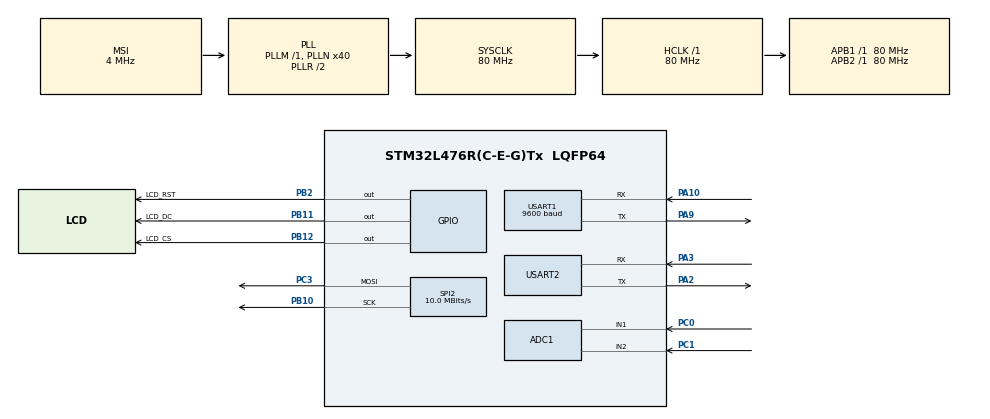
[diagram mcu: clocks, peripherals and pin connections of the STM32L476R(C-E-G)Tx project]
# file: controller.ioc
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ADC1.Channel-0\#ChannelRegularConversion=ADC_CHANNEL_1
ADC1.Channel-1\#ChannelRegularConversion=ADC_CHANNEL_2
ADC1.ContinuousConvMode=ENABLE
ADC1.DMAContinuousRequests=ENABLE
ADC1.NbrOfConversion=2
ADC1.NbrOfConversionFlag=1
ADC1.OffsetNumber-0\#ChannelRegularConversion=ADC_OFFSET_NONE
ADC1.OffsetNumber-1\#ChannelRegularConversion=ADC_OFFSET_NONE
ADC1.Overrun=ADC_OVR_DATA_OVERWRITTEN
ADC1.Rank-0\#ChannelRegularConversion=1
ADC1.Rank-1\#ChannelRegularConversion=2
ADC1.SamplingTime-0\#ChannelRegularConversion=ADC_SAMPLETIME_92CYCLES_5
ADC1.SamplingTime-1\#ChannelRegularConversion=ADC_SAMPLETIME_92CYCLES_5
ADC1.master=1
Dma.ADC1.0.Direction=DMA_PERIPH_TO_MEMORY
Dma.ADC1.0.Instance=DMA1_Channel1
Dma.ADC1.0.MemDataAlignment=DMA_MDATAALIGN_HALFWORD
Dma.ADC1.0.MemInc=DMA_MINC_ENABLE
Dma.ADC1.0.Mode=DMA_CIRCULAR
Dma.ADC1.0.PeriphDataAlignment=DMA_PDATAALIGN_HALFWORD
Dma.ADC1.0.PeriphInc=DMA_PINC_DISABLE
Dma.ADC1.0.Priority=DMA_PRIORITY_LOW
Dma.Request0=ADC1
Mcu.Family=STM32L4
Mcu.Name=STM32L476R(C-E-G)Tx
Mcu.Package=LQFP64
NVIC.DMA1_Channel1_IRQn=true\:0\:0\:false\:false\:true\:false\:true
NVIC.PriorityGroup=NVIC_PRIORITYGROUP_4
NVIC.USART1_IRQn=true\:0\:0\:false\:false\:true\:true\:true
PA10.Mode=Asynchronous
PA10.Signal=USART1_RX
PA2.Mode=Asynchronous
PA2.Signal=USART2_TX
PA3.Mode=Asynchronous
PA3.Signal=USART2_RX
PA9.Mode=Asynchronous
PA9.Signal=USART1_TX
PB10.Mode=TX_Only_Simplex_Unidirect_Master
PB10.Signal=SPI2_SCK
PB11.GPIO_Label=LCD_DC
PB11.Signal=GPIO_Output
PB12.GPIO_Label=LCD_CS
PB12.PinState=GPIO_PIN_SET
PB12.Signal=GPIO_Output
PB2.GPIO_Label=LCD_RST
PB2.Signal=GPIO_Output
PC0.Signal=ADCx_IN1
PC1.Signal=ADCx_IN2
PC3.Mode=TX_Only_Simplex_Unidirect_Master
PC3.Signal=SPI2_MOSI
ProjectManager.HeapSize=0x200
ProjectManager.StackSize=0x400
ProjectManager.TargetToolchain=STM32CubeIDE
RCC.ADCFreq_Value=32000000
RCC.AHBFreq_Value=80000000
RCC.APB1Freq_Value=80000000
RCC.APB1TimFreq_Value=80000000
RCC.APB2Freq_Value=80000000
RCC.APB2TimFreq_Value=80000000
RCC.CortexFreq_Value=80000000
RCC.HCLKFreq_Value=80000000
RCC.HSE_VALUE=8000000
RCC.HSI_VALUE=16000000
RCC.LSE_VALUE=32768
RCC.MSI_VALUE=4000000
RCC.PLLN=40
RCC.PLLSAI1N=16
RCC.SYSCLKFreq_VALUE=80000000
RCC.SYSCLKSource=RCC_SYSCLKSOURCE_PLLCLK
RCC.USBFreq_Value=32000000
RCC.VCOOutputFreq_Value=160000000
SH.ADCx_IN1.0=ADC1_IN1,IN1-Single-Ended
SH.ADCx_IN2.0=ADC1_IN2,IN2-Single-Ended
SPI2.BaudRatePrescaler=SPI_BAUDRATEPRESCALER_8
SPI2.CalculateBaudRate=10.0 MBits/s
SPI2.DataSize=SPI_DATASIZE_8BIT
SPI2.Direction=SPI_DIRECTION_2LINES
SPI2.Mode=SPI_MODE_MASTER
SPI2.NSSPMode=SPI_NSS_PULSE_DISABLE
SPI2.VirtualType=VM_MASTER
USART1.BaudRate=9600
USART1.VirtualMode-Asynchronous=VM_ASYNC
USART2.VirtualMode-Asynchronous=VM_ASYNC
board=custom

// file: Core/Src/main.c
/* USER CODE BEGIN Header */
/**
  ******************************************************************************
  * @file           : main.c
  * @brief          : Main program body
  ******************************************************************************
  * @attention
  *
  * Copyright (c) 2022 STMicroelectronics.
  * All rights reserved.
  *
  * This software is licensed under terms that can be found in the LICENSE file
  * in the root directory of this software component.
  * If no LICENSE file comes with this software, it is provided AS-IS.
  *
  ******************************************************************************
  */
/* USER CODE END Header */
#include "main.h"
#include "adc.h"
#include "dma.h"
#include "spi.h"
#include "usart.h"
#include "gpio.h"

/* USER CODE BEGIN Includes */
#include <stdio.h>
#include <stdlib.h>
#include <wchar.h>

#include "hagl.h"
#include "font6x9.h"
#include "rgb565.h"
/* USER CODE END Includes */

void SystemClock_Config(void);

/* USER CODE BEGIN 0 */
int __io_putchar(int ch)
{
  if (ch == '\n') {
    __io_putchar('\r');
  }

  HAL_UART_Transmit(&huart2, (uint8_t*)&ch, 1, HAL_MAX_DELAY);

  return 1;
}

uint16_t eps = 200;
uint16_t north=4000;
uint16_t south=0;
uint16_t east = 4000;
uint16_t west=0;

volatile int rx_uart_flag = 0;

#define RX_BUFFER_LEN 1
#define TX_BUFFER_LEN 1

char TX_BUFFER[TX_BUFFER_LEN]={0};
uint8_t RX_BUFFER[RX_BUFFER_LEN]={0};

uint8_t calculateDirection(uint32_t measurement_y, uint32_t measurement_x)
{
	if(abs(measurement_y-north) < eps)
		return '1';
	else if(abs(measurement_y-south) < eps)
		return '3';
	else if(abs(measurement_x-west) < eps)
		return '4';
	else if(abs(measurement_x-east) < eps)
		return '2';
	else return '0';
}

void HAL_UART_RxCpltCallback(UART_HandleTypeDef *huart)
{
    if(huart == &huart1)
    {
    	rx_uart_flag = 1;
    	HAL_UART_Receive_IT(&huart1, RX_BUFFER, 1);
    }
}
/* USER CODE END 0 */

int main(void)
{

  /* MCU Configuration--------------------------------------------------------*/

  /* Reset of all peripherals, Initializes the Flash interface and the Systick. */
  HAL_Init();

  /* Configure the system clock */
  SystemClock_Config();

  /* Initialize all configured peripherals */
  MX_GPIO_Init();
  MX_USART2_UART_Init();
  MX_DMA_Init();
  MX_ADC1_Init();
  MX_SPI2_Init();
  MX_USART1_UART_Init();
  /* USER CODE BEGIN 2 */
  /**
   * value array stands for measurements from joystick
   * value[0] - measurement from Y-axis
   * value[1] - measurement from X-axis
   */
  volatile static uint16_t value[2];
  uint8_t last_direction = '0';

  HAL_ADCEx_Calibration_Start(&hadc1, ADC_SINGLE_ENDED);
  HAL_ADC_Start_DMA(&hadc1, (uint32_t*)value, 2);
  HAL_UART_Receive_IT(&huart1, RX_BUFFER, 1);
//  wchar_t text_direction[15];
  lcd_init();
  wchar_t  ws[20];
  float temp[10] = {20.0, 20.1, 20.2, 20.0, 20.1, 20.0, 20.1, 20.1, 20.0, 20.2};
  int temp_index = 0;

  /* USER CODE END 2 */

  /* Infinite loop */
  /* USER CODE BEGIN WHILE */
  while (1)
  {
	  printf("Dir: %c\n", calculateDirection(value[0],value[1]));
	  swprintf(ws, 20, L"%hs%c", "Direction: ",calculateDirection(value[0],value[1]));
	  hagl_put_text(ws,0,0,YELLOW,font6x9);
	  lcd_copy();
	  TX_BUFFER[0]=(char)calculateDirection(value[0],value[1]);
	  if (last_direction != TX_BUFFER[0]) {
		  HAL_UART_Transmit(&huart1, (uint8_t*)TX_BUFFER, TX_BUFFER_LEN, 100);
	  }
	  last_direction = TX_BUFFER[0];
	  HAL_Delay(10);

//	  if (rx_uart_flag == 1) {
//		  rx_uart_flag = 0;
//		  if (RX_BUFFER[0] == 0) {
//			  printf("Gas: No\r\n");
//			  swprintf(ws, 20, L"%hs", "Gas: N");
//		  } else {
//			  printf("Gas: Yes\r\n");
//			  swprintf(ws, 20, L"%hs", "Gas: Y");
//		  }
//
//		  hagl_put_text(ws,0,10,YELLOW,font6x9);
//		  swprintf(ws, 20, L"%hs", "Temperature: 20");
//		  hagl_put_text(ws,0,20,YELLOW,font6x9);
//		  lcd_copy();
//	  }

	  swprintf(ws, 20, L"%hs", "Gas: N");
	  hagl_put_text(ws,0,10,YELLOW,font6x9);
	  swprintf(ws, 20, L"%hs%.2f", "Temperature: ", temp[temp_index++]);
	  hagl_put_text(ws,0,20,YELLOW,font6x9);
	  lcd_copy();
	  if (temp_index >= 10) {
		  temp_index = 0;
	  }
    /* USER CODE END WHILE */

  }
}

void SystemClock_Config(void)
{
  RCC_OscInitTypeDef RCC_OscInitStruct = {0};
  RCC_ClkInitTypeDef RCC_ClkInitStruct = {0};

  /** Configure the main internal regulator output voltage
  */
  if (HAL_PWREx_ControlVoltageScaling(PWR_REGULATOR_VOLTAGE_SCALE1) != HAL_OK)
  {
    Error_Handler();
  }
  /** Initializes the RCC Oscillators according to the specified parameters
  * in the RCC_OscInitTypeDef structure.
  */
  RCC_OscInitStruct.OscillatorType = RCC_OSCILLATORTYPE_MSI;
  RCC_OscInitStruct.MSIState = RCC_MSI_ON;
  RCC_OscInitStruct.MSICalibrationValue = 0;
  RCC_OscInitStruct.MSIClockRange = RCC_MSIRANGE_6;
  RCC_OscInitStruct.PLL.PLLState = RCC_PLL_ON;
  RCC_OscInitStruct.PLL.PLLSource = RCC_PLLSOURCE_MSI;
  RCC_OscInitStruct.PLL.PLLM = 1;
  RCC_OscInitStruct.PLL.PLLN = 40;
  RCC_OscInitStruct.PLL.PLLP = RCC_PLLP_DIV7;
  RCC_OscInitStruct.PLL.PLLQ = RCC_PLLQ_DIV2;
  RCC_OscInitStruct.PLL.PLLR = RCC_PLLR_DIV2;
  if (HAL_RCC_OscConfig(&RCC_OscInitStruct) != HAL_OK)
  {
    Error_Handler();
  }
  /** Initializes the CPU, AHB and APB buses clocks
  */
  RCC_ClkInitStruct.ClockType = RCC_CLOCKTYPE_HCLK|RCC_CLOCKTYPE_SYSCLK
                              |RCC_CLOCKTYPE_PCLK1|RCC_CLOCKTYPE_PCLK2;
  RCC_ClkInitStruct.SYSCLKSource = RCC_SYSCLKSOURCE_PLLCLK;
  RCC_ClkInitStruct.AHBCLKDivider = RCC_SYSCLK_DIV1;
  RCC_ClkInitStruct.APB1CLKDivider = RCC_HCLK_DIV1;
  RCC_ClkInitStruct.APB2CLKDivider = RCC_HCLK_DIV1;

  if (HAL_RCC_ClockConfig(&RCC_ClkInitStruct, FLASH_LATENCY_4) != HAL_OK)
  {
    Error_Handler();
  }
}

void Error_Handler(void)
{
  __disable_irq();
  while (1)
  {
  }
}
